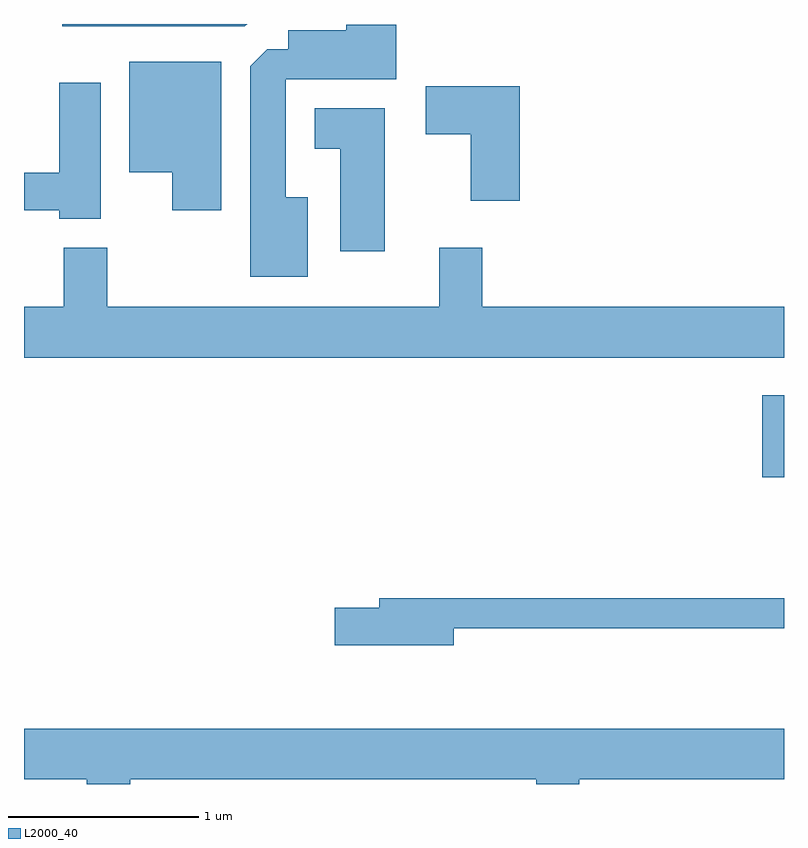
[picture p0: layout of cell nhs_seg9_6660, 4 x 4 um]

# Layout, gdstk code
import gdstk
lib = gdstk.Library(unit=1e-6, precision=1e-09)
def R(c, l, rs):  # rectangles x0, y0, x1, y1
    for r in rs: c.add(gdstk.rectangle(r[:2], r[2:], *l))
def P(c, l, *ps):  # polygons
    for p in ps: c.add(gdstk.Polygon(p, *l))
L2000_40 = (2000, 40)

nhs_seg9_6660 = lib.new_cell('nhs_seg9_6660')
R(nhs_seg9_6660, L2000_40, [(385.496,2020.046,385.611,2020.479)])
P(nhs_seg9_6660, L2000_40, [(382.785,2022.432),(381.813,2022.432),(381.813,2022.421),(382.774,2022.421)],
  [(383.104,2021.519),(382.989,2021.519),(382.989,2022.141),(383.569,2022.141),(383.569,2022.429),(383.306,2022.429),(383.306,2022.399),(383.001,2022.399),(383.001,2022.299),(382.892,2022.299),(382.801,2022.209),(382.801,2021.101),(383.104,2021.101)],
  [(382.649,2022.234),(382.166,2022.234),(382.166,2021.651),(382.391,2021.651),(382.391,2021.451),(382.649,2021.451)],
  [(382.014,2022.124),(381.796,2022.124),(381.796,2021.649),(381.611,2021.649),(381.611,2021.451),(381.796,2021.451),(381.796,2021.406),(382.014,2021.406)],
  [(384.219,2022.104),(383.726,2022.104),(383.726,2021.851),(383.961,2021.851),(383.961,2021.501),(384.219,2021.501)],
  [(383.509,2021.989),(383.141,2021.989),(383.141,2021.776),(383.276,2021.776),(383.276,2021.236),(383.509,2021.236)],
  [(385.611,2020.944),(384.024,2020.944),(384.024,2021.254),(383.796,2021.254),(383.796,2020.944),(382.049,2020.944),(382.049,2021.254),(381.821,2021.254),(381.821,2020.944),(381.611,2020.944),(381.611,2020.676),(385.611,2020.676)],
  [(383.874,2019.251),(385.611,2019.251),(385.611,2019.409),(383.481,2019.409),(383.481,2019.359),(383.246,2019.359),(383.246,2019.161),(383.874,2019.161)],
  [(382.169,2018.456),(384.306,2018.456),(384.306,2018.432),(384.534,2018.432),(384.534,2018.456),(385.611,2018.456),(385.611,2018.724),(381.611,2018.724),(381.611,2018.456),(381.941,2018.456),(381.941,2018.432),(382.169,2018.432)])

lib.write_gds('nhs_seg9_6660.gds')
